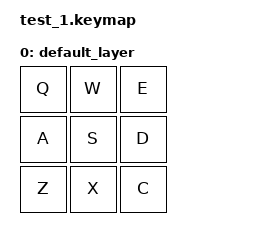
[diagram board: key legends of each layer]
// This file was generated from a template. Edit it to match your keyboard.
// See https://zmk.dev/docs/development/hardware-integration/new-shield for more instructions.

#include <behaviors.dtsi>
#include <dt-bindings/zmk/keys.h>

/ {
    // Define a default keymap here.
    // See https://zmk.dev/docs/development/hardware-integration/new-shield#default-keymap.
    //
    // ---------------------------------
    // |     Q     |     W     |     E |
    // |     A     |     S     |     D |
    // |     Z     |     X     |     C |
    //
    keymap {
        compatible = "zmk,keymap";

        default_layer {
            bindings = <
                &kp Q    &kp W    &kp E
                &kp A    &kp S    &kp D
                &kp Z    &kp X    &kp C
            >;
        };
    };
};

